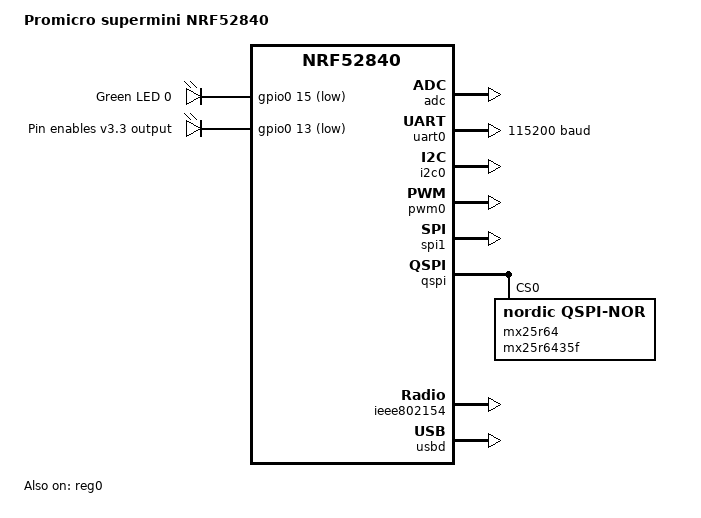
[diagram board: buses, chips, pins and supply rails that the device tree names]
/*
 * Copyright (c) 2017 Linaro Limited
 *
 * SPDX-License-Identifier: Apache-2.0
 */

/dts-v1/;
#include <nordic/nrf52840_qiaa.dtsi>
#include <nordic/nrf52840_partition.dtsi>
#include "supermini_nrf52840-pinctrl.dtsi"
#include <zephyr/dt-bindings/input/input-event-codes.h>

/ {
	model = "Promicro supermini NRF52840";
	compatible = "nordic,nrf52840-dk-nrf52840";

	chosen {
		zephyr,console = &uart0;
		zephyr,shell-uart = &uart0;
		zephyr,uart-mcumgr = &uart0;
		zephyr,bt-mon-uart = &uart0;
		zephyr,bt-c2h-uart = &uart0;
		zephyr,ieee802154 = &ieee802154;
	};

	leds {
		compatible = "gpio-leds";
		led0: led_0 {
			gpios = <&gpio0 15 GPIO_ACTIVE_LOW>;
			label = "Green LED 0";
		};
	};
	powerpin {
	   compatible = "gpio-leds";
	   powerpin0: powerpin-0 {
	       gpios = <&gpio0 13 GPIO_ACTIVE_LOW>;
		   label = "Pin enables v3.3 output";
		};
	};
	/* These aliases are provided for compatibility with samples */
	aliases {
		led0 = &led0;
		powerpin0 = &powerpin0;
		bootloader-led0 = &led0;
		mcuboot-led0 = &led0;
		watchdog0 = &wdt0;
	};
};

&reg0 {
	status = "okay";
};

&reg1 {
	regulator-initial-mode = <NRF5X_REG_MODE_DCDC>;
};

&adc {
	status = "okay";
};

&uicr {
	gpio-as-nreset;
};

&gpiote {
	status = "okay";
};

&gpio0 {
	status = "okay";
/*	gpio-reserved-ranges = <0 2>, <6 1>, <8 3>, <17 7>;
	gpio-line-names = "XL1", "XL2", "AREF", "A0", "A1", "RTS", "TXD",
		"CTS", "RXD", "NFC1", "NFC2", "BUTTON1", "BUTTON2", "LED1",
		"LED2", "LED3", "LED4", "QSPI CS", "RESET", "QSPI CLK",
		"QSPI DIO0", "QSPI DIO1", "QSPI DIO2", "QSPI DIO3","BUTTON3",
		"BUTTON4", "SDA", "SCL", "A2", "A3", "A4", "A5";
*/
};

&gpio1 {
	status = "okay";
/*	gpio-line-names = "", "D0", "D1", "D2", "D3", "D4", "D5", "D6",
		"D7", "", "D8", "D9", "D10", "D11", "D12", "D13";
*/};

&uart0 {
	compatible = "nordic,nrf-uarte";
	status = "okay";
	current-speed = <115200>;
	pinctrl-0 = <&uart0_default>;
	pinctrl-1 = <&uart0_sleep>;
	pinctrl-names = "default", "sleep";
};

&i2c0 {
	compatible = "nordic,nrf-twi";
	status = "okay";
	pinctrl-0 = <&i2c0_default>;
	pinctrl-1 = <&i2c0_sleep>;
	pinctrl-names = "default", "sleep";
};

&i2c1 {
	compatible = "nordic,nrf-twi";
	/* Cannot be used together with spi1. */
	/* status = "okay"; */
	pinctrl-0 = <&i2c1_default>;
	pinctrl-1 = <&i2c1_sleep>;
	pinctrl-names = "default", "sleep";
};

&pwm0 {
	status = "okay";
	pinctrl-0 = <&pwm0_default>;
	pinctrl-1 = <&pwm0_sleep>;
	pinctrl-names = "default", "sleep";
};

&spi0 {
	compatible = "nordic,nrf-spi";
	/* Cannot be used together with i2c0. */
	/* status = "okay"; */
	pinctrl-0 = <&spi0_default>;
	pinctrl-1 = <&spi0_sleep>;
	pinctrl-names = "default", "sleep";
};

&spi1 {
	compatible = "nordic,nrf-spi";
	status = "okay";
	pinctrl-0 = <&spi1_default>;
	pinctrl-1 = <&spi1_sleep>;
	pinctrl-names = "default", "sleep";
};

&spi2 {
	compatible = "nordic,nrf-spi";
	status = "disabled";
	pinctrl-0 = <&spi2_default>;
	pinctrl-1 = <&spi2_sleep>;
	pinctrl-names = "default", "sleep";
};

&qspi {
	status = "okay";
	pinctrl-0 = <&qspi_default>;
	pinctrl-1 = <&qspi_sleep>;
	pinctrl-names = "default", "sleep";
	mx25r64: mx25r6435f@0 {
		compatible = "nordic,qspi-nor";
		reg = <0>;
		/* MX25R64 supports only pp and pp4io */
		writeoc = "pp4io";
		/* MX25R64 supports all readoc options */
		readoc = "read4io";
		sck-frequency = <8000000>;
		jedec-id = [c2 28 17];
		sfdp-bfp = [
			e5 20 f1 ff  ff ff ff 03  44 eb 08 6b  08 3b 04 bb
			ee ff ff ff  ff ff 00 ff  ff ff 00 ff  0c 20 0f 52
			10 d8 00 ff  23 72 f5 00  82 ed 04 cc  44 83 68 44
			30 b0 30 b0  f7 c4 d5 5c  00 be 29 ff  f0 d0 ff ff
		];
		size = <67108864>;
		has-dpd;
		t-enter-dpd = <10000>;
		t-exit-dpd = <35000>;
	};
};

&ieee802154 {
	status = "okay";
};

zephyr_udc0: &usbd {
	compatible = "nordic,nrf-usbd";
	status = "okay";
};
